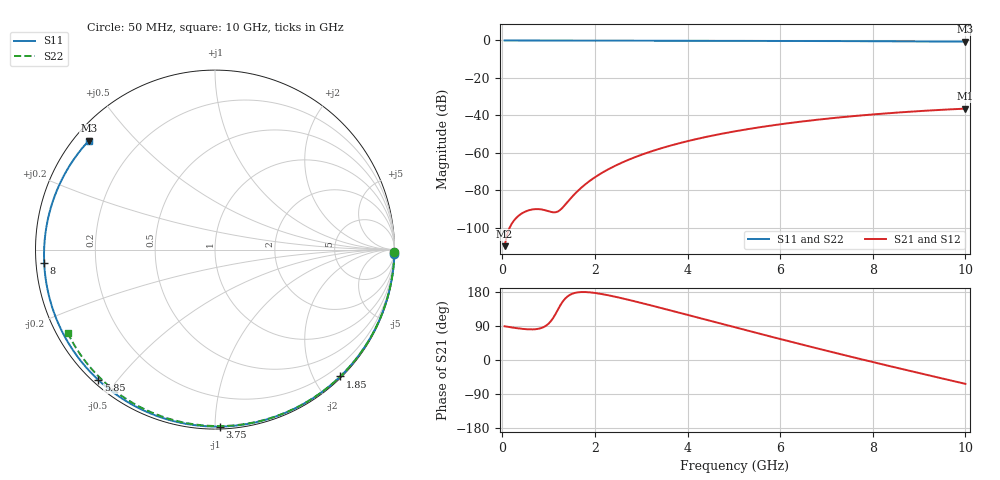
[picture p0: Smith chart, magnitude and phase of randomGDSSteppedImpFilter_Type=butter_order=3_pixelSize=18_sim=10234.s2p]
! freq	dB(S11)	phase(S11)	dB(S12)	phase(S12)
!  dB(S21)	phase(S21)	dB(S22)	phase(S22)
!S-par simulation data
#  GHz  S  DB  R 50
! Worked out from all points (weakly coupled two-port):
!   200 points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, 50 MHz to 10 GHz, reference 50 ohm
!   highest |S21| = -36.39 dB at 10 GHz (marker M1); lowest = -109.8 dB at 50 MHz (marker M2)
!   lowest |S11| = -0.6 dB at 10 GHz (marker M3), VSWR 27.15, Z = 2.1 + j18.5 ohm
!   |S11| at or under -10 dB: nowhere
!   |S22| runs from -0.5 to 0.0 dB; largest |S21 - S12| = 0
!   S11 on the Smith chart (normalised r, x): 50 MHz: 0, -91; 1.85 GHz: 0.02, -2.39; 3.75 GHz: 0.01, -1.03; 5.85 GHz: 0.02, -0.45; 8 GHz: 0.02, -0.04; 10 GHz: 0.04, +0.37
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0.05  -0.00 -1.3  -109.77 89.0  -109.77 89.0  -0.00 -0.9
0.4  -0.01 -10.0  -92.64 82.6  -92.64 82.6  -0.01 -6.9
0.8  -0.03 -19.9  -90.05 82.9  -90.05 82.9  -0.02 -13.8
1.6  -0.05 -39.4  -81.02 177.9  -81.02 177.9  -0.03 -27.3
1.65  -0.05 -40.6  -79.83 178.8  -79.83 178.8  -0.04 -28.2
1.75  -0.05 -43.0  -77.63 179.4  -77.63 179.4  -0.04 -29.8
1.85  -0.06 -45.4  -75.65 178.9  -75.65 178.9  -0.04 -31.5
2.15  -0.07 -52.4  -70.69 174.0  -70.69 174.0  -0.05 -36.5
2.5  -0.08 -60.5  -66.14 165.3  -66.14 165.3  -0.05 -42.2
2.9  -0.09 -69.6  -61.96 153.7  -61.96 153.7  -0.06 -48.7
3.4  -0.11 -80.7  -57.77 138.2  -57.77 138.2  -0.08 -56.7
3.75  -0.12 -88.4  -55.31 127.0  -55.31 127.0  -0.08 -62.1
4.4  -0.14 -102.1  -51.48 106.2  -51.48 106.2  -0.10 -72.1
5.05  -0.18 -115.6  -48.37 85.4  -48.37 85.4  -0.13 -81.8
5.85  -0.22 -131.8  -45.25 60.1  -45.25 60.1  -0.16 -93.4
6.7  -0.28 -148.9  -42.59 33.7  -42.59 33.7  -0.21 -105.3
7.35  -0.34 -162.1  -40.91 13.9  -40.91 13.9  -0.25 -114.3
8  -0.40 -175.6  -39.48 -5.4  -39.48 -5.4  -0.30 -123.1
8.35  -0.44 176.9  -38.81 -15.7  -38.81 -15.7  -0.33 -127.8
9.15  -0.53 159.1  -37.48 -38.7  -37.48 -38.7  -0.41 -138.7
9.55  -0.58 149.9  -36.92 -50.2  -36.92 -50.2  -0.46 -144.3
10  -0.64 139.3  -36.39 -62.9  -36.39 -62.9  -0.51 -150.6
